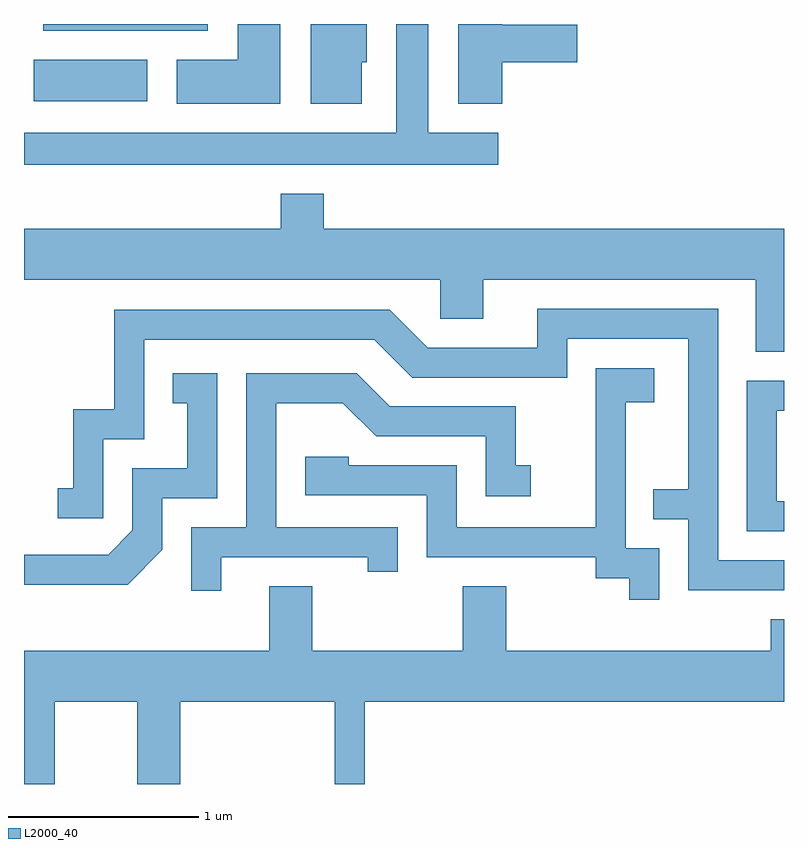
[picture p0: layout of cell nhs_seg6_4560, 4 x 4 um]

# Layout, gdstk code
import gdstk
lib = gdstk.Library(unit=1e-6, precision=1e-09)
def R(c, l, rs):  # rectangles x0, y0, x1, y1
    for r in rs: c.add(gdstk.rectangle(r[:2], r[2:], *l))
def P(c, l, *ps):  # polygons
    for p in ps: c.add(gdstk.Polygon(p, *l))
L2000_40 = (2000, 40)

nhs_seg6_4560 = lib.new_cell('nhs_seg6_4560')
R(nhs_seg6_4560, L2000_40, [(323.661,1659.756,324.259,1659.974), (323.711,1660.126,324.579,1660.162)])
P(nhs_seg6_4560, L2000_40, [(324.959,1660.162),(324.736,1660.162),(324.736,1659.974),(324.416,1659.974),(324.416,1659.741),(324.959,1659.741)],
  [(326.129,1659.961),(326.524,1659.961),(326.524,1660.159),(326.129,1660.159),(326.129,1660.162),(325.896,1660.162),(325.896,1659.741),(326.129,1659.741)],
  [(325.389,1659.961),(325.414,1659.961),(325.414,1660.162),(325.121,1660.162),(325.121,1659.741),(325.389,1659.741)],
  [(326.108,1659.589),(325.739,1659.589),(325.739,1660.162),(325.571,1660.162),(325.571,1659.589),(323.611,1659.589),(323.611,1659.421),(326.108,1659.421)],
  [(327.611,1659.084),(325.189,1659.084),(325.189,1659.269),(324.961,1659.269),(324.961,1659.084),(323.611,1659.084),(323.611,1658.816),(325.801,1658.816),(325.801,1658.611),(326.029,1658.611),(326.029,1658.816),(327.461,1658.816),(327.461,1658.436),(327.611,1658.436)],
  [(327.611,1657.339),(327.264,1657.339),(327.264,1658.664),(326.311,1658.664),(326.311,1658.459),(325.737,1658.459),(325.537,1658.659),(324.086,1658.659),(324.086,1658.134),(323.871,1658.134),(323.871,1657.719),(323.788,1657.719),(323.788,1657.561),(324.029,1657.561),(324.029,1657.976),(324.244,1657.976),(324.244,1658.501),(325.454,1658.501),(325.654,1658.301),(326.469,1658.301),(326.469,1658.506),(327.106,1658.506),(327.106,1657.714),(326.923,1657.714),(326.923,1657.556),(327.106,1657.556),(327.106,1657.181),(327.611,1657.181)],
  [(326.954,1657.404),(326.779,1657.404),(326.779,1658.171),(326.929,1658.171),(326.929,1658.349),(326.621,1658.349),(326.621,1657.514),(325.889,1657.514),(325.889,1657.839),(325.319,1657.839),(325.319,1657.884),(325.091,1657.884),(325.091,1657.681),(325.731,1657.681),(325.731,1657.356),(326.621,1657.356),(326.621,1657.246),(326.796,1657.246),(326.796,1657.133),(326.954,1657.133)],
  [(324.339,1657.394),(324.339,1657.666),(324.629,1657.666),(324.629,1658.324),(324.393,1658.324),(324.393,1658.166),(324.471,1658.166),(324.471,1657.824),(324.181,1657.824),(324.181,1657.497),(324.054,1657.369),(323.611,1657.369),(323.611,1657.211),(324.157,1657.211)],
  [(324.649,1657.356),(325.421,1657.356),(325.421,1657.278),(325.579,1657.278),(325.579,1657.514),(324.939,1657.514),(324.939,1658.166),(325.289,1658.166),(325.464,1657.991),(326.041,1657.991),(326.041,1657.676),(326.278,1657.676),(326.278,1657.839),(326.199,1657.839),(326.199,1658.149),(325.537,1658.149),(325.362,1658.324),(324.781,1658.324),(324.781,1657.514),(324.491,1657.514),(324.491,1657.178),(324.649,1657.178)],
  [(327.611,1657.649),(327.574,1657.649),(327.574,1658.126),(327.611,1658.126),(327.611,1658.284),(327.416,1658.284),(327.416,1657.491),(327.611,1657.491)],
  [(323.774,1656.596),(324.206,1656.596),(324.206,1656.162),(324.434,1656.162),(324.434,1656.596),(325.246,1656.596),(325.246,1656.162),(325.404,1656.162),(325.404,1656.596),(327.611,1656.596),(327.611,1657.029),(327.541,1657.029),(327.541,1656.864),(326.149,1656.864),(326.149,1657.204),(325.921,1657.204),(325.921,1656.864),(325.129,1656.864),(325.129,1657.204),(324.901,1657.204),(324.901,1656.864),(323.611,1656.864),(323.611,1656.162),(323.774,1656.162)])

lib.write_gds('nhs_seg6_4560.gds')
